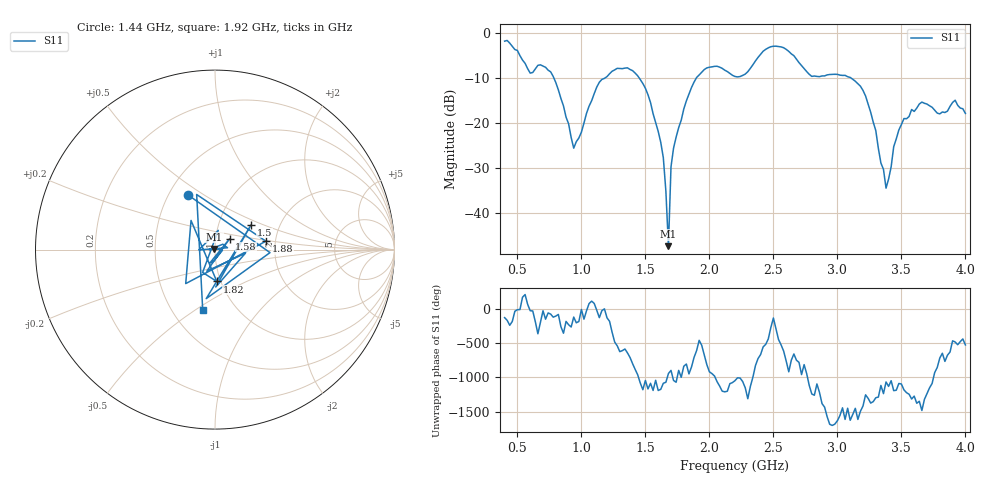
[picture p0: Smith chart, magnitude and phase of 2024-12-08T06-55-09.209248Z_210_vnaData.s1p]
!Created with skrf (http://scikit-rf.org).
# Hz S RI R 50.0
!freq ReS11 ImS11
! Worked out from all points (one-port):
!   181 points, 400 MHz to 4 GHz, reference 50 ohm
!   lowest |S11| = -47.3 dB at 1.68 GHz (marker M1), VSWR 1.01, Z = 49.7 + j0.299 ohm
!   |S11| at or under -10 dB: 786.2 MHz to 1.179 GHz (393 MHz wide, 40 % of centre); 1.454 GHz to 1.896 GHz (442.3 MHz wide, 26.4 % of centre); 3.111 GHz to end of sweep
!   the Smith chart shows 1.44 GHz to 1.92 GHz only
!   S11 on the Smith chart (normalised r, x): 1.44 GHz: 0.63, +0.43; 1.5 GHz: 1.43, +0.43; 1.58 GHz: 1.17, +0.14; 1.82 GHz: 0.96, -0.35; 1.88 GHz: 1.78, +0.18; 1.92 GHz: 0.70, -0.54
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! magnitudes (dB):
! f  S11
! 400 MHz  -1.7
! 600 MHz  -8.8
! 760 MHz  -8.5
! 860 MHz  -16.1
! 940 MHz  -25.5
! 1.14 GHz  -10.9
! 1.3 GHz  -7.8
! 1.44 GHz  -9.4
! 1.5 GHz  -12.2
! 1.58 GHz  -19.8
! 1.64 GHz  -27.6
! 1.68 GHz  -47.3
! 1.7 GHz  -29.6
! 1.76 GHz  -20.9
! 1.82 GHz  -15.0
! 1.88 GHz  -10.8
! 1.92 GHz  -9.2
! 2.2 GHz  -9.6
! 2.48 GHz  -3.0
! 2.66 GHz  -5.0
! 2.8 GHz  -9.6
! 3.1 GHz  -9.8
! 3.22 GHz  -13.9
! 3.38 GHz  -34.4
! 3.48 GHz  -21.5
! 3.56 GHz  -18.5
! 3.92 GHz  -14.9
! 4 GHz  -17.8
